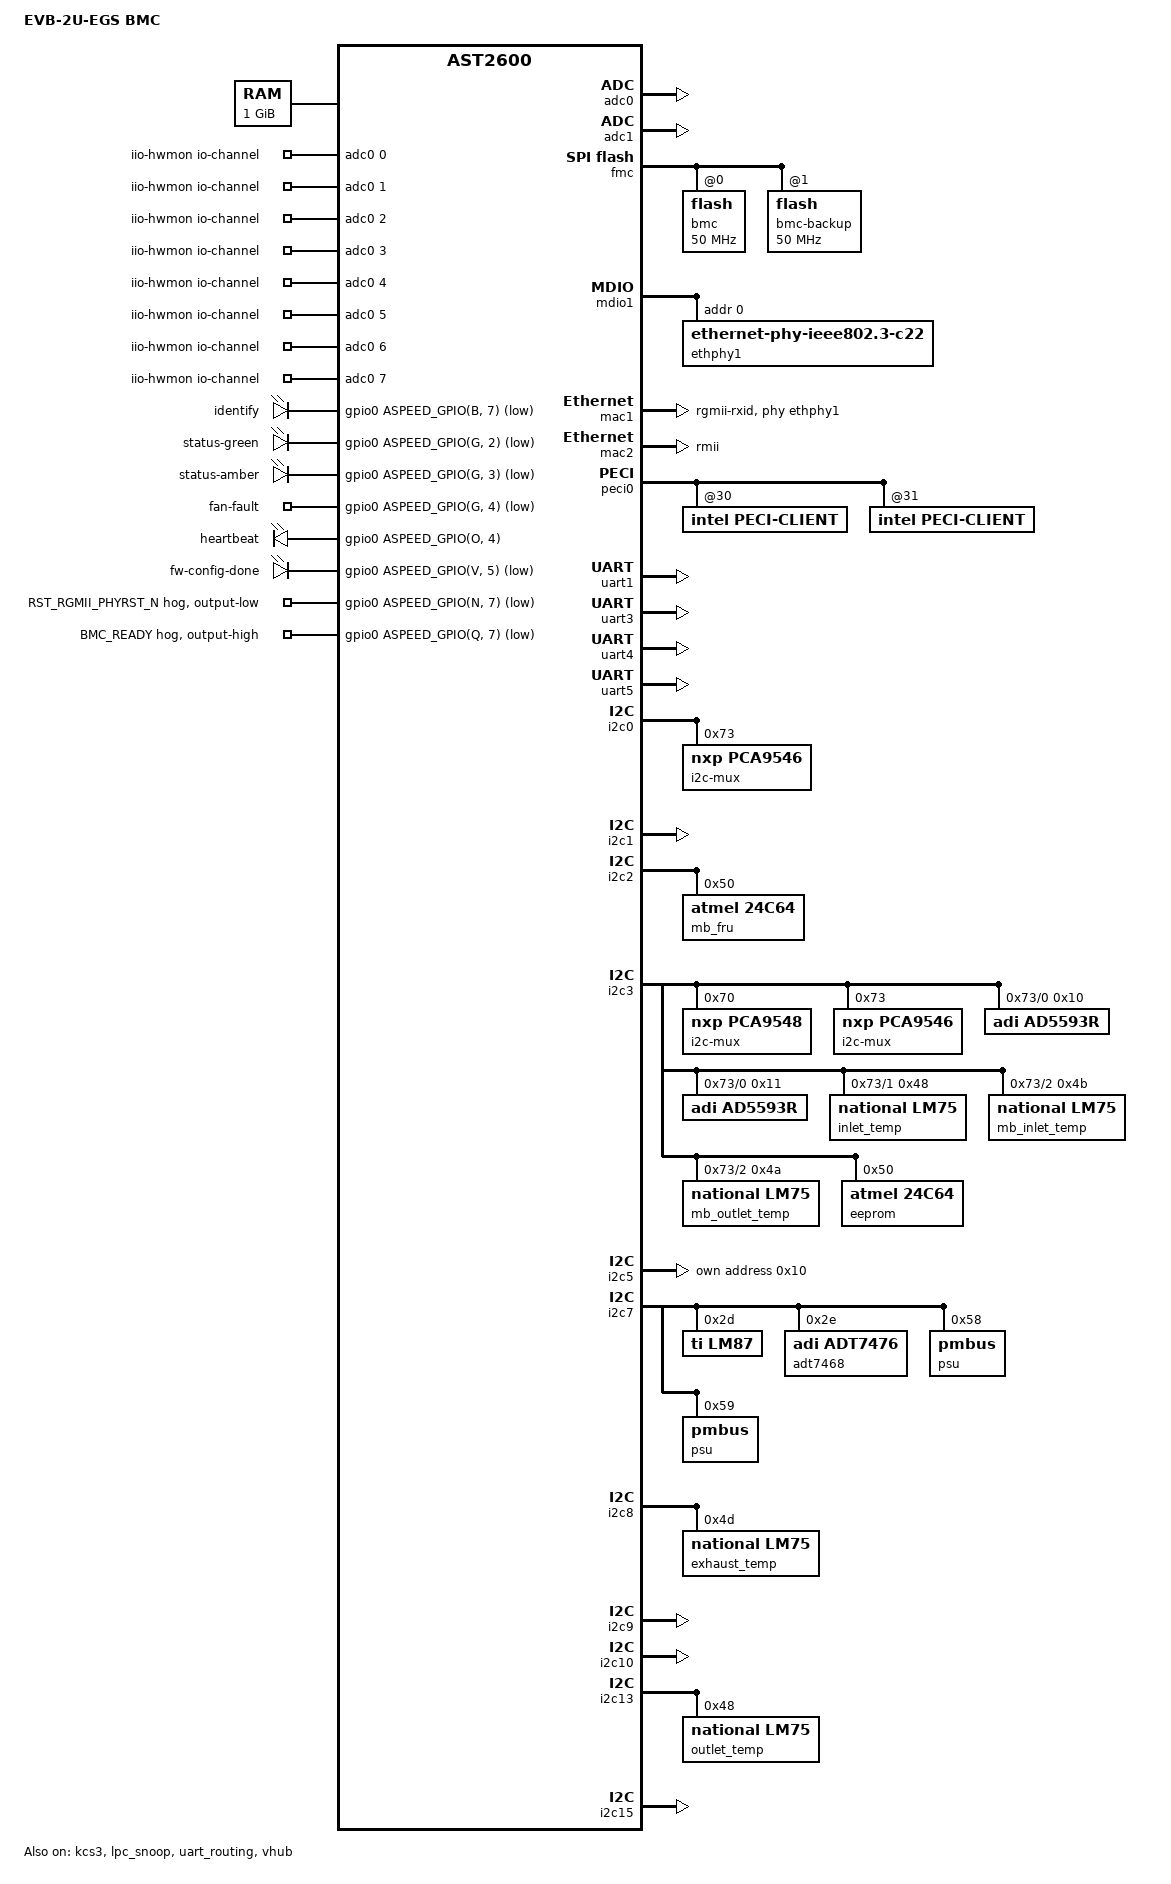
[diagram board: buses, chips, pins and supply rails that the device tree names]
// SPDX-License-Identifier: GPL-2.0-or-later
/dts-v1/;

#include "aspeed-g6.dtsi"
#include <dt-bindings/gpio/aspeed-gpio.h>
#include <dt-bindings/i2c/i2c.h>

/ {
	model = "EVB-2U-EGS BMC";
	compatible = "evb-2u-egs-bmc", "aspeed,ast2600";

	aliases {
		/* MUX downstream buses */
		i2c20 = &i2c3_mux0_ch0; /* bus3 mux0x73 CH0: AD5593R sensors */
		i2c21 = &i2c3_mux0_ch1; /* bus3 mux0x73 CH1: LM75 inlet */
		i2c22 = &i2c3_mux0_ch2; /* bus3 mux0x73 CH2: MB LM75 in/out */
		i2c23 = &i2c0_mux0_ch0; /* bus0 mux0x73 CH0: front CPLD */
		i2c24 = &i2c0_mux0_ch1; /* bus0 mux0x73 CH1 */
		i2c25 = &i2c0_mux0_ch2; /* bus0 mux0x73 CH2 */
		i2c26 = &i2c0_mux0_ch3; /* bus0 mux0x73 CH3 */
	};

	chosen {
		stdout-path = &uart5;
		bootargs = "console=ttyS4,115200n8 earlycon";
	};

	memory@80000000 {
		device_type = "memory";
		reg = <0x80000000 0x40000000>;
	};

	reserved-memory {
		#address-cells = <1>;
		#size-cells = <1>;
		ranges;

		video_engine_memory: framebuffer@9f000000 {
			no-map;
			reg = <0x9f000000 0x01000000>; /* 16MB */
		};
	};

	iio-hwmon {
		compatible = "iio-hwmon";
		io-channels = <&adc0 0>, <&adc0 1>, <&adc0 2>, <&adc0 3>,
			<&adc0 4>, <&adc0 5>, <&adc0 6>, <&adc0 7>,
			<&adc1 0>, <&adc1 1>, <&adc1 2>, <&adc1 3>,
			<&adc1 4>, <&adc1 5>, <&adc1 6>, <&adc1 7>;
	};

	leds {
		compatible = "gpio-leds";

		/* Front Panel ID LED (active-low) */
		identify {
			label = "identify";
			gpios = <&gpio0 ASPEED_GPIO(B, 7) GPIO_ACTIVE_LOW>;
			default-state = "off";
		};

		/* System Status Green LED (active-low) */
		status-green {
			label = "status-green";
			gpios = <&gpio0 ASPEED_GPIO(G, 2) GPIO_ACTIVE_LOW>;
			default-state = "on";
		};

		/* System Status Amber LED (active-low) */
		status-amber {
			label = "status-amber";
			gpios = <&gpio0 ASPEED_GPIO(G, 3) GPIO_ACTIVE_LOW>;
			default-state = "off";
		};

		/* Fan Fault LED (active-low) */
		fan-fault {
			label = "fan-fault";
			gpios = <&gpio0 ASPEED_GPIO(G, 4) GPIO_ACTIVE_LOW>;
			default-state = "off";
		};

		/* BMC Heartbeat LED (R1D) */
		heartbeat {
			label = "heartbeat";
			gpios = <&gpio0 ASPEED_GPIO(O, 4) GPIO_ACTIVE_HIGH>;
			linux,default-trigger = "heartbeat";
		};

		/* FW Config Done LED (active-low) */
		fw-config-done {
			label = "fw-config-done";
			gpios = <&gpio0 ASPEED_GPIO(V, 5) GPIO_ACTIVE_LOW>;
			default-state = "on";
		};
	};
};

/* ===== GPIO line names and hogs ===== */
&gpio0 {
	gpio-line-names =
	/*A0-A7*/ "","","","","GPIO_BMC_CPLD_LIQUID","","","",
	/*B0-B7*/ "","","","GPIO_SYS_PWROK","","","FM_BMC_BMCINIT","FP_ID_LED_N",
	/*C0-C7*/ "","","","","","","","",
	/*D0-D7*/ "","","","","","","","",
	/*E0-E7*/ "","","","FM_PCH_BMC_THERMTRIP","","","","",
	/*F0-F7*/ "SKU_ID0_N","SKU_ID1_N","SKU_ID2_N","BOARD_ID0","BOARD_ID1","SKU_ID5_N","FP_ID_BTN","PS_PWROK",
	/*G0-G7*/ "","","STATUS_GREEN_LED_N","STATUS_AMBER_LED_N","FAN_FAULT_LED_N","","","",
	/*H0-H7*/ "","","","","","","","",
	/*I0-I7*/ "","","","","","PWBTN_OUT_N","","",
	/*J0-J7*/ "","","","","","","","",
	/*K0-K7*/ "","","","","","","","",
	/*L0-L7*/ "","","","","","","","",
	/*M0-M7*/ "","CPUERR2_INT","","","PHYSICAL_BUTTON_LOCK","","","",
	/*N0-N7*/ "","","","","","","","RST_RGMII_PHYRST_N",
	/*O0-O7*/ "","CPLD_HOLD_IO","","","HEARTBEAT_R1D","CPU1_MEMHOT_N","","",
	/*P0-P7*/ "RSTBTN_IN_N","RSTBTN_OUT_N","PWRBTN_IN_N","","","","","",
	/*Q0-Q7*/ "","","HEARTBEAT_R1C","","FM_PCH_BMC_THERMTRIP_N","","","BMC_READY_N",
	/*R0-R7*/ "BIOS_UPDATE","","","FAN_MUX_GPIO","RAC_PRESENCE","","","",
	/*S0-S7*/ "PE_RESET","CATERR_INT","","BOARD_REV_ID3_N","","P3_BAT_DET","","",
	/*T0-T7*/ "","","","","","","","",
	/*U0-U7*/ "","","","","DPU_ADC12_N","DPU_ADC13_N","","",
	/*V0-V7*/ "SLP_S3","SLP_S4","","","","FW_CONFIG_DONE_N","CPU0_MEMHOT_N","",
	/*W0-W7*/ "","","","","","","","",
	/*X0-X7*/ "","SMI_TIMEOUT_INT","POST_COMPLETE_N","","","","","",
	/*Y0-Y7*/ "","","","","","","","",
	/*Z0-Z7*/ "","","","","","","","",
	/*AA0-AA7*/ "","","BMC_BOARD_REV_ID0_N","BMC_BOARD_REV_ID1_N","BMC_BOARD_REV_ID2_N","BMC_BOARD_REV_ID3_N","","",
	/*AB0-AB7*/ "","","","","","","","",
	/*AC0-AC7*/ "","","","","","","","";

	/* PHY reset: deassert reset (RST_RGMII_PHYRST_N is active-low;
	 * output-low = logical LOW = physical HIGH = PHY running normally) */
	phy-reset-hog {
		gpio-hog;
		gpios = <ASPEED_GPIO(N, 7) GPIO_ACTIVE_LOW>;
		output-low;
		line-name = "RST_RGMII_PHYRST_N";
	};

	/* BMC Ready indicator (R1D): assert low when BMC is ready */
	bmc-ready-hog {
		gpio-hog;
		gpios = <ASPEED_GPIO(Q, 7) GPIO_ACTIVE_LOW>;
		output-high;
		line-name = "BMC_READY";
	};
};

/* ===== ADC ===== */
&adc0 {
	vref = <2500>;
	status = "okay";
	pinctrl-names = "default";
	pinctrl-0 = <&pinctrl_adc0_default &pinctrl_adc1_default
		&pinctrl_adc2_default &pinctrl_adc3_default
		&pinctrl_adc4_default &pinctrl_adc5_default
		&pinctrl_adc6_default &pinctrl_adc7_default>;
};

&adc1 {
	vref = <2500>;
	status = "okay";
	pinctrl-names = "default";
	pinctrl-0 = <&pinctrl_adc8_default &pinctrl_adc9_default
		&pinctrl_adc10_default &pinctrl_adc11_default
		&pinctrl_adc12_default &pinctrl_adc13_default
		&pinctrl_adc14_default &pinctrl_adc15_default>;
};

/* ===== Flash: dual 64MB w25q512, Bank A (CS0) + Bank B (CS1) ===== */
&fmc {
	status = "okay";

	flash@0 {
		status = "okay";
		m25p,fast-read;
		label = "bmc";
		spi-max-frequency = <50000000>;
#include "openbmc-flash-layout-64.dtsi"
	};

	flash@1 {
		status = "okay";
		m25p,fast-read;
		label = "bmc-backup";
		spi-max-frequency = <50000000>;
	};
};

/* ===== Network ===== */
/* AMI DTS reference (ast2600evb_r1b.dts) confirmed:
 *   mac1 (1e680000) + mdio1 (1e650008) = RGMII-RXID, external PHY @ addr 0
 *   mac2 (1e670000) = RMII + NCSI (management network)
 *   mdio2 disabled → frees pin M24 → i2c10 can be enabled
 */
&mdio1 {
	status = "okay";

	ethphy1: ethernet-phy@0 {
		compatible = "ethernet-phy-ieee802.3-c22";
		reg = <0>;
	};
};

/* mac1: RGMII with external PHY (BMC dedicated management port) */
&mac1 {
	status = "okay";
	phy-mode = "rgmii-rxid";
	phy-handle = <&ethphy1>;
	pinctrl-names = "default";
	pinctrl-0 = <&pinctrl_rgmii2_default>;
};

/* mac2: RMII with NC-SI (shared management via host NIC) */
&mac2 {
	status = "okay";
	phy-mode = "rmii";
	use-ncsi;
	pinctrl-names = "default";
	pinctrl-0 = <&pinctrl_rmii3_default>;
};

/* ===== PECI: CPU thermal via PECI bus ===== */
&peci0 {
	status = "okay";

	peci-client@30 {
		compatible = "intel,peci-client";
		reg = <0x30>;
	};

	peci-client@31 {
		compatible = "intel,peci-client";
		reg = <0x31>;
	};
};

/* ===== LPC / KCS / IPMI ===== */
&kcs3 {
	status = "okay";
	aspeed,lpc-io-reg = <0xCA2>;
};

&lpc_snoop {
	status = "okay";
	snoop-ports = <0x80>;
};

/* ===== UART ===== */
&uart1 {
	/* Host serial share (ttyS0 in host) */
	status = "okay";
};

&uart3 {
	/* ttyS2: shared host serial */
	status = "okay";
};

&uart4 {
	/* ttyS3: SOL (Serial over LAN) */
	status = "okay";
};

&uart5 {
	/* ttyS4: BMC console at 115200 */
	status = "okay";
};

&uart_routing {
	status = "okay";
};

/* ===== USB Virtual Hub ===== */
&vhub {
	status = "okay";
};

/* ===== I2C Buses ===== */

/* Bus 0: Front/backplane CPLD via PCA9546 MUX */
&i2c0 {
	status = "okay";

	i2c-mux@73 {
		compatible = "nxp,pca9546";
		reg = <0x73>;
		#address-cells = <1>;
		#size-cells = <0>;
		i2c-mux-idle-disconnect;

		i2c0_mux0_ch0: i2c@0 {
			#address-cells = <1>;
			#size-cells = <0>;
			reg = <0>;
			/* Front CPLD @ 0x58, 0x59, 0x5A */
		};

		i2c0_mux0_ch1: i2c@1 {
			#address-cells = <1>;
			#size-cells = <0>;
			reg = <1>;
		};

		i2c0_mux0_ch2: i2c@2 {
			#address-cells = <1>;
			#size-cells = <0>;
			reg = <2>;
		};

		i2c0_mux0_ch3: i2c@3 {
			#address-cells = <1>;
			#size-cells = <0>;
			reg = <3>;
		};
	};
};

/* Bus 1: VR PMBus + IPMB/NM shared bus */
&i2c1 {
	status = "okay";
	/* VR CPU0 VCCD @ 0x08 */
	/* VR CPU1 VCCD @ 0x06 */
	/* VR CPU0 VCCIN @ 0x58 */
	/* VR CPU1 VCCIN @ 0x5E */
	/* VR CPU0 FAON @ 0x66 */
	/* VR CPU1 FAON @ 0x5C */
	/* Note: also used as IPMB/NM third channel (0x24) */
};

/* Bus 2: MB FRU EEPROM + rear CPLD */
&i2c2 {
	status = "okay";

	/* MB FRU EEPROM (24C64, 2-byte address) */
	mb_fru: eeprom@50 {
		compatible = "atmel,24c64";
		reg = <0x50>;
		pagesize = <32>;
	};

	/* Rear/internal CPLD @ 0x58, 0x59, 0x5A */
};

/* Bus 3: PCA9548 (NVMe/RAID) + PCA9546 (sensors/ADC) + MAC EEPROM */
&i2c3 {
	status = "okay";

	/* NVMe/RAID I2C MUX */
	i2c-mux@70 {
		compatible = "nxp,pca9548";
		reg = <0x70>;
		#address-cells = <1>;
		#size-cells = <0>;
		i2c-mux-idle-disconnect;

		i2c@0 { reg = <0>; #address-cells = <1>; #size-cells = <0>; };
		i2c@1 { reg = <1>; #address-cells = <1>; #size-cells = <0>; };
		i2c@2 { reg = <2>; #address-cells = <1>; #size-cells = <0>; };
		i2c@3 { reg = <3>; #address-cells = <1>; #size-cells = <0>; };
		i2c@4 { reg = <4>; #address-cells = <1>; #size-cells = <0>; };
		i2c@5 { reg = <5>; #address-cells = <1>; #size-cells = <0>; };
		i2c@6 { reg = <6>; #address-cells = <1>; #size-cells = <0>; };
		i2c@7 { reg = <7>; #address-cells = <1>; #size-cells = <0>; };
	};

	/* Sensor/ADC I2C MUX (R1D) */
	i2c-mux@73 {
		compatible = "nxp,pca9546";
		reg = <0x73>;
		#address-cells = <1>;
		#size-cells = <0>;
		i2c-mux-idle-disconnect;

		/* CH0: AD5593R analog sensors */
		i2c3_mux0_ch0: i2c@0 {
			#address-cells = <1>;
			#size-cells = <0>;
			reg = <0>;

			/* AD5593R IC13: board voltage rails */
			ad5593r@10 {
				compatible = "adi,ad5593r";
				reg = <0x10>;
			};

			/* AD5593R IC14: VR voltage rails */
			ad5593r@11 {
				compatible = "adi,ad5593r";
				reg = <0x11>;
			};
		};

		/* CH1: Inlet temperature sensor */
		i2c3_mux0_ch1: i2c@1 {
			#address-cells = <1>;
			#size-cells = <0>;
			reg = <1>;

			inlet_temp: lm75@48 {
				compatible = "national,lm75";
				reg = <0x48>;
			};
		};

		/* CH2: MB temperature sensors */
		i2c3_mux0_ch2: i2c@2 {
			#address-cells = <1>;
			#size-cells = <0>;
			reg = <2>;

			mb_inlet_temp: lm75@4b {
				compatible = "national,lm75";
				reg = <0x4b>;
			};

			mb_outlet_temp: lm75@4a {
				compatible = "national,lm75";
				reg = <0x4a>;
			};
		};

		i2c@3 {
			reg = <3>;
			#address-cells = <1>;
			#size-cells = <0>;
		};
	};

	/* MAC EEPROM (R1D) */
	eeprom@50 {
		compatible = "atmel,24c64";
		reg = <0x50>;
		pagesize = <32>;
	};
};

/* Bus 4: reserved/unused */
&i2c4 {
	status = "disabled";
};

/* Bus 5: IPMB slave */
&i2c5 {
	status = "okay";

	ipmb@10 {
		compatible = "ipmb-dev";
		reg = <(0x10 | I2C_OWN_SLAVE_ADDRESS)>;
		i2c-protocol;
	};
};

/* Bus 6: legacy ADS7830 (R1C only, disabled for R1D) */
&i2c6 {
	status = "disabled";
};

/* Bus 7: PSU PMBus + system board sensors
 * multi-master: PSU PMBus controllers may also act as I2C masters.
 * Devices confirmed by i2cdetect -y 7 on real hardware:
 *   0x2d (UU) = LM87 (claimed by driver)
 *   0x2e      = ADT7468 (compatible with adi,adt7476 driver; devid=0x76)
 *   0x50      = PSU FRU EEPROM (read-only, no driver needed)
 *   0x58      = PSU1 PMBus (no response when host is off - expected)
 * Note: lm75@0x48 not detected on real hardware - removed.
 */
&i2c7 {
	status = "okay";
	multi-master;

	/* System board environment sensor (LM87: temp/voltage/fan/chassis) */
	lm87@2d {
		compatible = "ti,lm87";
		reg = <0x2d>;
	};

	/* ADT7468 thermal/fan/voltage sensor (compatible with adt7476 driver) */
	adt7468@2e {
		compatible = "adi,adt7476";
		reg = <0x2e>;
	};

	/* PSU 1 PMBus (GREAT WALL CRPS1600D) */
	psu@58 {
		compatible = "pmbus";
		reg = <0x58>;
	};

	/* PSU 2 PMBus */
	psu@59 {
		compatible = "pmbus";
		reg = <0x59>;
	};
};

/* Bus 8: Exhaust temperature sensor */
&i2c8 {
	status = "okay";

	exhaust_temp: lm75@4d {
		compatible = "national,lm75";
		reg = <0x4d>;
	};
};

/* Bus 9: MB CPLD / Fan controller */
&i2c9 {
	status = "okay";
	/* Fan CPLD @ 0x22
	 * Registers:
	 *   0x03 = tach base
	 *   0x04 = PWM base
	 *   0x05 = fan presence (active-low bitmap)
	 *   0x0A = status/control
	 * 4 system fans (2U config), 8 tach channels
	 * This is a custom CPLD; no standard Linux driver.
	 * OpenBMC will access via i2c-dev or a custom hwmon driver.
	 */
};

/* Bus 10: Rear/internal CPLD (0x58, 0x59, 0x5A).
 * Previously disabled due to pin M24 conflict with mdio2.
 * Now mdio2 is no longer used (RGMII moved to mac1/mdio1),
 * so M24 is free and i2c10 can be enabled.
 */
&i2c10 {
	status = "okay";
	/* Rear/internal CPLD @ 0x58, 0x59, 0x5A */
};

/* Bus 11: unused */
&i2c11 {
	status = "disabled";
};

/* Bus 12: explicitly disabled */
&i2c12 {
	status = "disabled";
};

/* Bus 13: Outlet temperature + OEM EEPROM (R1C legacy) */
&i2c13 {
	status = "okay";

	outlet_temp: lm75@48 {
		compatible = "national,lm75";
		reg = <0x48>;
	};
};

/* Bus 14: unused */
&i2c14 {
	status = "disabled";
};

/* Bus 15: RAID expansion */
&i2c15 {
	status = "okay";
};
